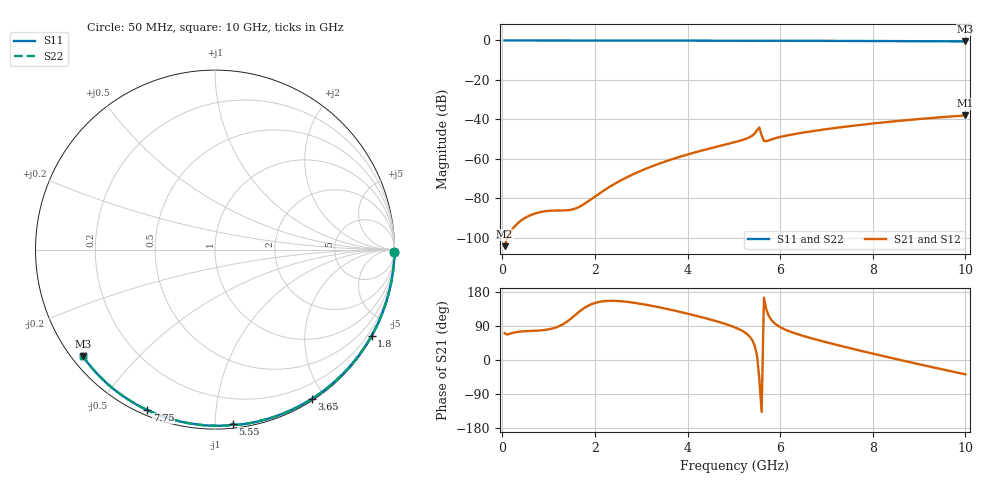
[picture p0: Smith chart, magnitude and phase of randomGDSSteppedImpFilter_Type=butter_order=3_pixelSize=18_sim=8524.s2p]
! freq	dB(S11)	phase(S11)	dB(S12)	phase(S12)
!  dB(S21)	phase(S21)	dB(S22)	phase(S22)
!S-par simulation data
#  GHz  S  DB  R 50
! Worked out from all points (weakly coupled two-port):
!   200 points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, 50 MHz to 10 GHz, reference 50 ohm
!   highest |S21| = -38.02 dB at 10 GHz (marker M1); lowest = -104.3 dB at 50 MHz (marker M2)
!   lowest |S11| = -0.5 dB at 10 GHz (marker M3), VSWR 36.03, Z = 1.56 - j17.6 ohm
!   |S11| at or under -10 dB: nowhere
!   |S22| runs from -0.5 to 0.0 dB; largest |S21 - S12| = 0
!   S11 on the Smith chart (normalised r, x): 50 MHz: open; 1.8 GHz: 0.03, -3.89; 3.65 GHz: 0.02, -1.84; 5.55 GHz: 0.03, -1.11; 7.75 GHz: 0.02, -0.66; 10 GHz: 0.03, -0.35
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0.05  -0.00 -0.8  -104.30 70.8  -104.30 70.8  -0.00 -0.8
0.9  -0.02 -14.6  -86.69 79.0  -86.69 79.0  -0.02 -14.6
1.75  -0.04 -28.1  -83.18 135.6  -83.18 135.6  -0.04 -28.1
1.8  -0.04 -28.8  -82.42 139.5  -82.42 139.5  -0.04 -28.8
1.95  -0.04 -31.2  -79.99 148.4  -79.99 148.4  -0.04 -31.2
2.35  -0.05 -37.4  -73.74 156.1  -73.74 156.1  -0.05 -37.4
2.65  -0.05 -42.0  -69.84 154.0  -69.84 154.0  -0.05 -42.0
3  -0.06 -47.4  -66.02 148.0  -66.02 148.0  -0.06 -47.4
3.4  -0.07 -53.4  -62.35 138.8  -62.35 138.8  -0.07 -53.4
3.65  -0.08 -57.1  -60.35 132.2  -60.35 132.2  -0.08 -57.1
5.05  -0.12 -77.2  -51.38 84.8  -51.38 84.8  -0.12 -77.2
5.35  -0.13 -81.4  -48.94 60.6  -48.94 60.6  -0.13 -81.4
5.45  -0.14 -82.9  -47.16 38.1  -47.16 38.1  -0.14 -82.9
5.55  -0.22 -84.2  -44.10 -48.7  -44.10 -48.7  -0.22 -84.2
5.6  -0.19 -84.5  -48.16 -137.0  -48.16 -137.0  -0.19 -84.5
5.65  -0.16 -85.2  -50.91 164.5  -50.91 164.5  -0.16 -85.2
5.7  -0.15 -85.9  -51.05 133.9  -51.05 133.9  -0.15 -85.9
6.05  -0.16 -90.8  -48.66 83.5  -48.66 83.5  -0.16 -90.8
6.7  -0.19 -99.4  -45.97 56.5  -45.97 56.5  -0.19 -99.4
7.75  -0.26 -112.9  -42.77 24.1  -42.77 24.1  -0.26 -112.9
8.35  -0.31 -120.5  -41.26 6.8  -41.26 6.8  -0.31 -120.5
10  -0.48 -141.2  -38.02 -37.8  -38.02 -37.8  -0.48 -141.2
